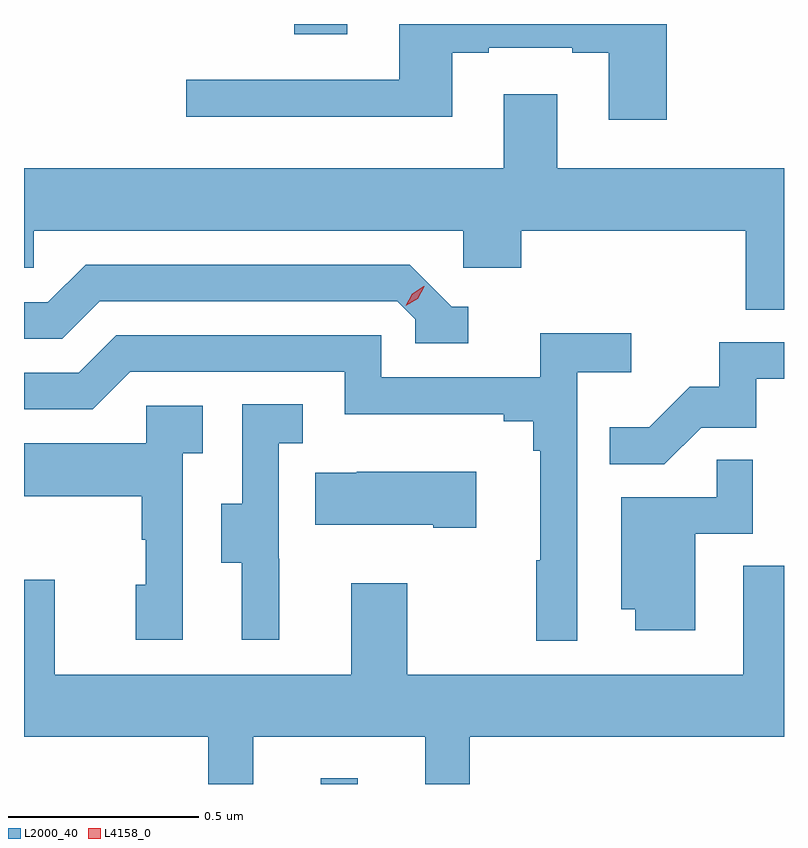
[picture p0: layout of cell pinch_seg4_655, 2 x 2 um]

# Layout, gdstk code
import gdstk
lib = gdstk.Library(unit=1e-6, precision=1e-09)
def R(c, l, rs):  # rectangles x0, y0, x1, y1
    for r in rs: c.add(gdstk.rectangle(r[:2], r[2:], *l))
def P(c, l, *ps):  # polygons
    for p in ps: c.add(gdstk.Polygon(p, *l))
L2000_40 = (2000, 40)
L4158_0 = (4158, 0)

pinch_seg4_655 = lib.new_cell('pinch_seg4_655')
R(pinch_seg4_655, L2000_40, [(1050.129,750.076,1050.226,750.091), (1050.059,752.049,1050.199,752.076)])
P(pinch_seg4_655, L2000_40, [(1051.04,752.076),(1050.335,752.076),(1050.335,751.929),(1049.775,751.929),(1049.775,751.832),(1050.475,751.832),(1050.475,752.001),(1050.571,752.001),(1050.571,752.013),(1050.791,752.013),(1050.791,752.001),(1050.887,752.001),(1050.887,751.824),(1051.04,751.824)],
  [(1051.348,751.696),(1050.751,751.696),(1050.751,751.891),(1050.611,751.891),(1050.611,751.696),(1049.348,751.696),(1049.348,751.434),(1049.373,751.434),(1049.373,751.532),(1050.504,751.532),(1050.504,751.434),(1050.656,751.434),(1050.656,751.532),(1051.247,751.532),(1051.247,751.324),(1051.348,751.324)],
  [(1050.517,751.332),(1050.474,751.332),(1050.363,751.443),(1049.51,751.443),(1049.411,751.344),(1049.348,751.344),(1049.348,751.248),(1049.448,751.248),(1049.547,751.347),(1050.33,751.347),(1050.378,751.299),(1050.378,751.236),(1050.517,751.236)],
  [(1050.804,751.16),(1050.946,751.16),(1050.946,751.262),(1050.707,751.262),(1050.707,751.146),(1050.288,751.146),(1050.288,751.257),(1049.591,751.257),(1049.492,751.158),(1049.348,751.158),(1049.348,751.062),(1049.529,751.062),(1049.628,751.161),(1050.192,751.161),(1050.192,751.049),(1050.611,751.049),(1050.611,751.03),(1050.688,751.03),(1050.688,750.953),(1050.707,750.953),(1050.707,750.665),(1050.696,750.665),(1050.696,750.453),(1050.804,750.453)],
  [(1051.13,751.014),(1051.275,751.014),(1051.275,751.143),(1051.348,751.143),(1051.348,751.239),(1051.177,751.239),(1051.177,751.122),(1051.1,751.122),(1050.993,751.015),(1050.889,751.015),(1050.889,750.917),(1051.033,750.917)],
  [(1050.02,750.669),(1050.018,750.669),(1050.018,750.973),(1050.082,750.973),(1050.082,751.076),(1049.922,751.076),(1049.922,750.813),(1049.867,750.813),(1049.867,750.658),(1049.921,750.658),(1049.921,750.456),(1050.02,750.456)],
  [(1049.766,750.947),(1049.818,750.947),(1049.818,751.071),(1049.67,751.071),(1049.67,750.973),(1049.348,750.973),(1049.348,750.833),(1049.658,750.833),(1049.658,750.719),(1049.668,750.719),(1049.668,750.6),(1049.642,750.6),(1049.642,750.456),(1049.766,750.456)],
  [(1051.114,750.735),(1051.266,750.735),(1051.266,750.929),(1051.171,750.929),(1051.171,750.831),(1050.92,750.831),(1050.92,750.536),(1050.956,750.536),(1050.956,750.48),(1051.114,750.48)],
  [(1050.538,750.898),(1050.223,750.898),(1050.223,750.895),(1050.115,750.895),(1050.115,750.758),(1050.425,750.758),(1050.425,750.751),(1050.538,750.751)],
  [(1049.951,750.2),(1050.404,750.2),(1050.404,750.076),(1050.521,750.076),(1050.521,750.2),(1051.348,750.2),(1051.348,750.65),(1051.241,750.65),(1051.241,750.364),(1050.357,750.364),(1050.357,750.604),(1050.209,750.604),(1050.209,750.364),(1049.429,750.364),(1049.429,750.613),(1049.348,750.613),(1049.348,750.2),(1049.833,750.2),(1049.833,750.076),(1049.951,750.076)])
P(pinch_seg4_655, L4158_0, [(1050.353,751.334),(1050.353,751.334),(1050.37,751.366),(1050.4,751.386),(1050.401,751.386),(1050.401,751.385),(1050.384,751.353),(1050.353,751.334)])

lib.write_gds('pinch_seg4_655.gds')
